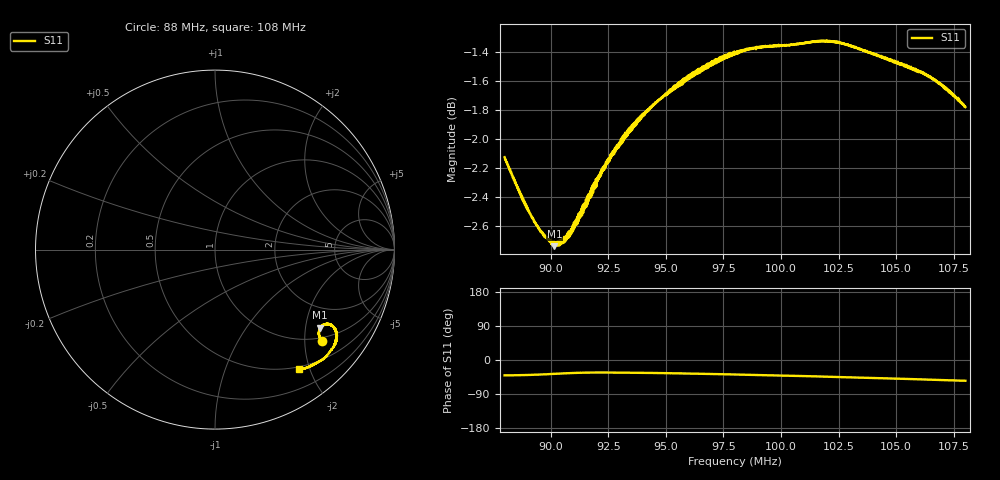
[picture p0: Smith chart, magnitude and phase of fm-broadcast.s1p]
! Calibrated averaged scanner-service zoom
# Hz S RI R 50
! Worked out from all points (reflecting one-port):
!   2001 points, 88 MHz to 108 MHz, reference 50 ohm
!   lowest |S11| = -2.7 dB at 90.16 MHz (marker M1), VSWR 6.39, Z = 64.9 - j121 ohm
!   phase of S11 starts at -41 deg and turns -14 deg over the sweep
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8.8e7  0.5947 -0.5093
8.828e7  0.5892 -0.5015
8.865e7  0.5827 -0.4893
8.918e7  0.5789 -0.4709
8.966e7  0.58 -0.4538
9.016e7  0.5858 -0.4347
9.05e7  0.5941 -0.4267
9.092e7  0.6095 -0.4161
9.126e7  0.6204 -0.4147
9.15e7  0.6278 -0.4143
9.188e7  0.6398 -0.4167
9.221e7  0.6503 -0.4224
9.3e7  0.6625 -0.4338
9.362e7  0.6698 -0.4459
9.422e7  0.6744 -0.4526
9.489e7  0.6773 -0.466
9.55e7  0.6759 -0.479
9.676e7  0.6766 -0.5028
9.8e7  0.6674 -0.5262
9.908e7  0.6566 -0.5476
1.005e8  0.6387 -0.5706
1.0169e8  0.6226 -0.5918
1.03e8  0.5958 -0.6139
1.055e8  0.5402 -0.6453
1.0614e8  0.5245 -0.6533
1.0692e8  0.5023 -0.6612
1.0787e8  0.4725 -0.6666
1.08e8  0.4697 -0.6659
